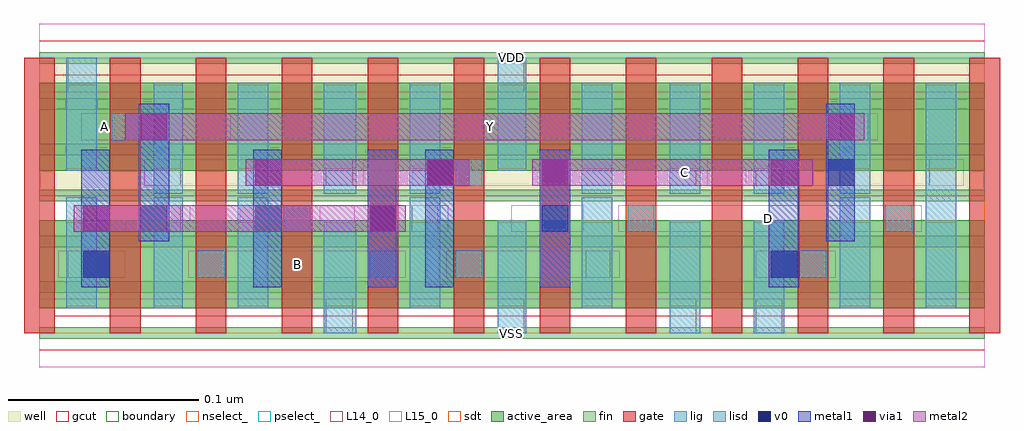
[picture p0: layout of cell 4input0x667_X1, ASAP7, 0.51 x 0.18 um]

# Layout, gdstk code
import gdstk
lib = gdstk.Library(unit=1e-6, precision=1e-09)
def R(c, l, rs):  # rectangles x0, y0, x1, y1
    for r in rs: c.add(gdstk.rectangle(r[:2], r[2:], *l))
def A(c, l, x, y, w, h, nx, ny, dx, dy):  # array of equal rectangles
    R(c, l, [(x+i*dx, y+j*dy, x+i*dx+w, y+j*dy+h) for i in range(nx) for j in range(ny)])
def P(c, l, *ps):  # polygons
    for p in ps: c.add(gdstk.Polygon(p, *l))
well = (1, 0)
fin = (2, 0)
gate = (7, 0)
gcut = (10, 0)
active_area = (11, 0)
nselect_ = (12, 0)
pselect_ = (13, 0)
L14_0 = (14, 0)
L15_0 = (15, 0)
lig = (16, 0)
lisd = (17, 0)
v0 = (18, 0)
metal1 = (19, 0)
metal2 = (20, 0)
via1 = (21, 0)
sdt = (88, 0)
boundary = (100, 0)

c_4input0x667_x1 = lib.new_cell('4input0x667_X1')
R(c_4input0x667_x1, well, [(0,0.072,0.495,0.144)])
A(c_4input0x667_x1, fin, 0, -0.003, 0.495, 0.006, 1, 7, 0, 0.024)
A(c_4input0x667_x1, gate, -0.008, 0, 0.016, 0.144, 12, 1, 0.045, 0)
P(c_4input0x667_x1, gcut, [(0,-0.009),(0,0),(-0.008,0),(-0.008,0.135),(0.008,0.135),(0.008,0.009),(0.352,0.009),(0.352,0.135),(0.368,0.135),(0.368,0.009),(0.487,0.009),(0.487,0.135),(-0.008,0.135),(-0.008,0.144),(0,0.144),(0,0.153),(0.495,0.153),(0.495,0.144),(0.503,0.144),(0.503,0),(0.495,0),(0.495,-0.009)])
R(c_4input0x667_x1, active_area, [(0,0.013,0.495,0.059), (0,0.085,0.495,0.131)])
R(c_4input0x667_x1, nselect_, [(0,0,0.495,0.072)])
R(c_4input0x667_x1, pselect_, [(0,0.072,0.495,0.144)])
A(c_4input0x667_x1, L14_0, 0.15, 0, 0.014, 0.018, 3, 1, 0.09, 0)
R(c_4input0x667_x1, L14_0, [(0.375,0,0.389,0.018), (0.015,0.029,0.03,0.043), (0.083,0.029,0.097,0.043), (0.173,0.029,0.187,0.043), (0.218,0.029,0.232,0.043), (0.286,0.029,0.299,0.043), (0.398,0.029,0.412,0.043), (0.06,0.053,0.074,0.067), (0.128,0.053,0.142,0.067), (0.195,0.053,0.209,0.067), (0.263,0.053,0.277,0.067), (0.308,0.053,0.322,0.067), (0.443,0.053,0.457,0.067), (0.06,0.077,0.074,0.091), (0.15,0.077,0.164,0.091), (0.218,0.077,0.232,0.091), (0.33,0.077,0.344,0.091), (0.375,0.077,0.389,0.091), (0.466,0.077,0.48,0.091), (0.038,0.101,0.052,0.115), (0.105,0.101,0.12,0.115), (0.42,0.101,0.434,0.115), (0.015,0.126,0.03,0.144), (0.24,0.126,0.254,0.144)])
R(c_4input0x667_x1, L15_0, [(0,-0.018,0.495,0.018), (0.01,0.029,0.045,0.043), (0.078,0.029,0.192,0.043), (0.213,0.029,0.304,0.043), (0.375,0.029,0.417,0.043), (0.045,0.053,0.079,0.067), (0.105,0.053,0.147,0.067), (0.165,0.053,0.214,0.067), (0.247,0.053,0.285,0.067), (0.303,0.053,0.462,0.067), (0.055,0.077,0.17,0.091), (0.195,0.077,0.35,0.091), (0.37,0.077,0.484,0.091), (0.022,0.101,0.057,0.115), (0.1,0.101,0.439,0.115), (0,0.126,0.495,0.162)])
R(c_4input0x667_x1, lig, [(0.083,0.029,0.097,0.043), (0.173,0.029,0.187,0.043), (0.218,0.029,0.232,0.043), (0.398,0.029,0.412,0.043), (0.128,0.053,0.142,0.067), (0.263,0.053,0.277,0.067), (0.308,0.053,0.322,0.067), (0.443,0.053,0.457,0.067), (0.218,0.077,0.232,0.091), (0.038,0.101,0.052,0.115)])
A(c_4input0x667_x1, lisd, 0.014, 0.013, 0.016, 0.058, 4, 1, 0.09, 0)
A(c_4input0x667_x1, lisd, 0.104, 0.073, 0.016, 0.058, 3, 1, 0.09, 0)
R(c_4input0x667_x1, lisd, [(0.149,0,0.166,0.059), (0.24,0,0.255,0.059), (0.33,0,0.346,0.059), (0.374,0,0.39,0.059), (0.06,0.013,0.075,0.071), (0.419,0.013,0.435,0.071), (0.464,0.013,0.48,0.131), (0.06,0.073,0.075,0.131), (0.149,0.073,0.166,0.131), (0.33,0.073,0.346,0.131), (0.374,0.073,0.39,0.131), (0.419,0.073,0.435,0.131), (0.014,0.085,0.03,0.144), (0.24,0.085,0.255,0.144)])
A(c_4input0x667_x1, v0, 0.053, 0.053, 0.014, 0.014, 3, 1, 0.06, 0)
R(c_4input0x667_x1, v0, [(0.023,0.029,0.037,0.043), (0.383,0.029,0.397,0.043), (0.263,0.053,0.277,0.067), (0.203,0.077,0.217,0.091), (0.413,0.077,0.427,0.091)])
R(c_4input0x667_x1, metal1, [(0.022,0.024,0.037,0.096), (0.112,0.024,0.127,0.096), (0.172,0.024,0.187,0.096), (0.202,0.024,0.217,0.096), (0.262,0.024,0.278,0.096), (0.382,0.024,0.398,0.096), (0.052,0.048,0.068,0.12), (0.412,0.048,0.427,0.12)])
R(c_4input0x667_x1, metal2, [(0.018,0.053,0.192,0.067), (0.108,0.077,0.225,0.091), (0.258,0.077,0.405,0.091), (0.045,0.101,0.432,0.115)])
R(c_4input0x667_x1, via1, [(0.023,0.053,0.037,0.067), (0.173,0.053,0.187,0.067), (0.113,0.077,0.127,0.091), (0.203,0.077,0.217,0.091), (0.263,0.077,0.277,0.091), (0.383,0.077,0.397,0.091), (0.053,0.101,0.067,0.115), (0.413,0.101,0.427,0.115)])
A(c_4input0x667_x1, sdt, 0.014, 0.014, 0.016, 0.044, 4, 2, 0.09, 0.072)
A(c_4input0x667_x1, sdt, 0.374, 0.014, 0.016, 0.044, 3, 2, 0.045, 0.072)
R(c_4input0x667_x1, sdt, [(0.06,0.014,0.075,0.058), (0.149,0.014,0.166,0.058), (0.24,0.014,0.255,0.058), (0.33,0.014,0.346,0.058), (0.06,0.086,0.075,0.13), (0.149,0.086,0.166,0.13), (0.24,0.086,0.255,0.13), (0.33,0.086,0.346,0.13)])
R(c_4input0x667_x1, boundary, [(0,0,0.495,0.144)])
c_4input0x667_x1.add(gdstk.Label('VSS', (0.247,0), layer=15, texttype=251))
c_4input0x667_x1.add(gdstk.Label('VDD', (0.247,0.144), layer=15, texttype=251))
c_4input0x667_x1.add(gdstk.Label('B', (0.135,0.036), layer=15, texttype=251))
c_4input0x667_x1.add(gdstk.Label('VSS', (0.247,0), layer=15, texttype=251))
c_4input0x667_x1.add(gdstk.Label('VDD', (0.247,0.144), layer=15, texttype=251))
c_4input0x667_x1.add(gdstk.Label('D', (0.382,0.06), layer=15, texttype=251))
c_4input0x667_x1.add(gdstk.Label('VSS', (0.247,0), layer=15, texttype=251))
c_4input0x667_x1.add(gdstk.Label('VDD', (0.247,0.144), layer=15, texttype=251))
c_4input0x667_x1.add(gdstk.Label('VSS', (0.247,0), layer=15, texttype=251))
c_4input0x667_x1.add(gdstk.Label('VDD', (0.247,0.144), layer=15, texttype=251))
c_4input0x667_x1.add(gdstk.Label('A', (0.034,0.108), layer=15, texttype=251))
c_4input0x667_x1.add(gdstk.Label('VSS', (0.247,0), layer=15, texttype=251))
c_4input0x667_x1.add(gdstk.Label('VDD', (0.247,0.144), layer=15, texttype=251))
c_4input0x667_x1.add(gdstk.Label('C', (0.338,0.084), layer=20, texttype=251))
c_4input0x667_x1.add(gdstk.Label('Y', (0.236,0.108), layer=20, texttype=251))
c_4input0x667_x1.add(gdstk.Label('VSS', (0.247,0), layer=3, texttype=251))
c_4input0x667_x1.add(gdstk.Label('VSS', (0.247,0), layer=3, texttype=251))
c_4input0x667_x1.add(gdstk.Label('VSS', (0.247,0), layer=3, texttype=251))
c_4input0x667_x1.add(gdstk.Label('VSS', (0.247,0), layer=3, texttype=251))
c_4input0x667_x1.add(gdstk.Label('VSS', (0.247,0), layer=3, texttype=251))
c_4input0x667_x1.add(gdstk.Label('VDD', (0.247,0.144), layer=1, texttype=251))
c_4input0x667_x1.add(gdstk.Label('VDD', (0.247,0.144), layer=1, texttype=251))
c_4input0x667_x1.add(gdstk.Label('VDD', (0.247,0.144), layer=1, texttype=251))
c_4input0x667_x1.add(gdstk.Label('VDD', (0.247,0.144), layer=1, texttype=251))
c_4input0x667_x1.add(gdstk.Label('VDD', (0.247,0.144), layer=1, texttype=251))

lib.write_gds('4input0x667_X1.gds')
